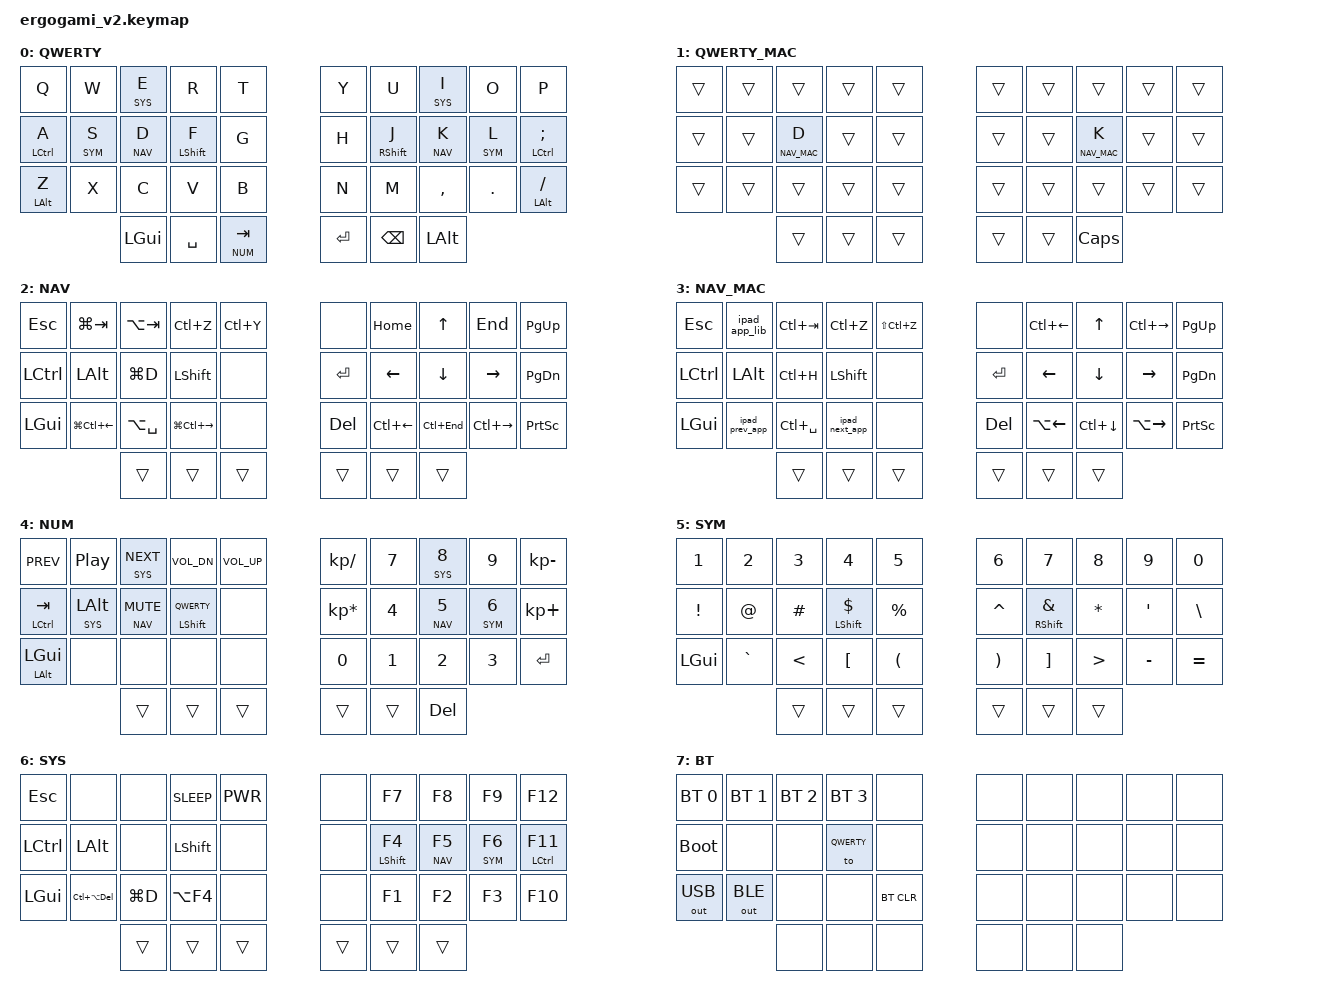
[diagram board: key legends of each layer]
/*
 * Copyright (c) 2020 The ZMK Contributors
 *
 * SPDX-License-Identifier: MIT
 */

#include <behaviors.dtsi>
#include <dt-bindings/zmk/keys.h>
#include <dt-bindings/zmk/bt.h>
#include <dt-bindings/zmk/outputs.h>

&mt {
  tapping-term-ms = <400>;
};
&sk {
  release-after-ms = <2000>;
  quick-release;
};
 
/* Layers */
#define QWERTY 0
#define QWERTY_MAC 1
#define NAV 2
#define NAV_MAC 3
#define NUM 4
#define SYM 5
#define SYS 6
#define BT 7
/ {

  combos {
    compatible = "zmk,combos";
    combo_qwerty {
      timeout-ms = <40>;
      key-positions = <0 1>;
      bindings = <&to QWERTY>;
    };
    combo_qwerty_mac {
      timeout-ms = <40>;
      key-positions = <10 11>;
      bindings = <&to QWERTY_MAC>;
    };
    combo_nav {
      timeout-ms = <30>;
      key-positions = <21 22 23>;
      bindings = <&to NAV>;
    };
    combo_num {
      timeout-ms = <30>;
      key-positions = <1 2 3>;
      bindings = <&to NUM>;
    };
    combo_sym {
      timeout-ms = <30>;
      key-positions = <11 12 13>;
      bindings = <&to SYM>;
    };
    combo_bt  {
      timeout-ms = <40>;
      key-positions = <20 21 22 23>;
      bindings = <&to BT>;
    };
    combo_caps {
      timeout-ms = <45>;
      key-positions = <16 17 18>;
      bindings = <&kp CAPS>;
    };
  };

  behaviors {
    lm: layer_mods {
      compatible = "zmk,behavior-hold-tap";
      label = "LAYER_MODS";
      #binding-cells = <2>;
      tapping-term-ms = <200>;
      flavor = "balanced";
      bindings = <&lt>, <&to>;
      retro-tap;
    };
    hl: homerow_layers {
      compatible = "zmk,behavior-hold-tap";
      label = "HOMEROW_LAYERS";
      #binding-cells = <2>;
      tapping-term-ms = <200>;
      quick_tap_ms = <0>;
      flavor = "hold-preferred";
      bindings = <&kp>, <&to>;
    };
    hs: hold_shift {
      compatible = "zmk,behavior-hold-tap";
      label = "SHIFT_KEY";
      #binding-cells = <2>;
      tapping-term-ms = <160>;
      quick_tap_ms = <0>;
      flavor = "hold-preferred";
      bindings = <&kp>, <&kp>;
      retro-tap;
    };
    td: tapdance {
      compatible = "zmk,behavior-hold-tap";
      label = "TAPDANCE";
      #binding-cells = <2>;
      tapping-term-ms = <190>;
      quick_tap_ms = <0>;
      flavor = "tap-preferred";
      bindings = <&kp>, <&kp>;
      retro-tap;
    };
  };

  macros {
    ipad_prev_app: ipad_prev_app {
        label = "IPAD_prev_app";
        compatible = "zmk,behavior-macro";
        #binding-cells = <0>;
        bindings = 
          <&macro_press &kp CAPS>,
          <&macro_tap &kp LEFT_ARROW>,
          <&macro_release &kp CAPS>;
    };
    ipad_next_app: ipad_next_app {
        label = "IPAD_next_app";
        compatible = "zmk,behavior-macro";
        #binding-cells = <0>;
        bindings =
          <&macro_press &kp CAPS>,
          <&macro_tap &kp RIGHT_ARROW>,
          <&macro_release &kp CAPS>;
    };
    ipad_app_lib: ipad_app_lib {
        label = "IPAD_app_library";
        compatible = "zmk,behavior-macro";
        #binding-cells = <0>;
        bindings =
          <&macro_press &kp CAPS>,
          <&macro_tap &kp UP_ARROW>,
          <&macro_release &kp CAPS>;
    };
};
  
//		Keys Template
//    ╭─────────────┬─────────────┬─────────────┬─────────────┬─────────────╮   ╭─────────────┬─────────────┬─────────────┬─────────────┬─────────────╮
//       RC(0,0)       RC(0,1)       RC(0,2)       RC(0,3)       RC(0,4)           RC(0,5)       RC(0,6)       RC(0,7)       RC(0,8)       RC(0,9)
//    ├─────────────┼─────────────┼─────────────┼─────────────┼─────────────┤   ├─────────────┼─────────────┼─────────────┼─────────────┼─────────────┤
//       RC(0,10)      RC(0,11)      RC(0,12)      RC(0,13)      RC(0,14)          RC(0,15)      RC(0,16)      RC(0,17)      RC(0,18)      RC(0,19)
//    ├─────────────┼─────────────┼─────────────┼─────────────┼─────────────┤   ├─────────────┼─────────────┼─────────────┼─────────────┼─────────────┤
//       RC(0,20)      RC(0,21)      RC(0,22)      RC(0,23)      RC(0,24)          RC(0,25)      RC(0,26)      RC(0,27)      RC(0,28)      RC(0,29)
//    ╰─────────────┴─────────────┼─────────────┼─────────────┼─────────────┤   ├─────────────┼─────────────┼─────────────┼─────────────┴─────────────╯
//                                   RC(0,30)      RC(0,31)      RC(0,32)          RC(0,33)      RC(0,34)      RC(0,35)
//                                ╰─────────────┴─────────────┴─────────────╯   ╰─────────────┴─────────────┴─────────────╯

  keymap {
    compatible = "zmk,keymap";
    qwerty {
      label = "QWERTY";
      bindings = <
      // ╭─────────────┬─────────────┬─────────────┬─────────────┬─────────────╮   ╭─────────────┬─────────────┬─────────────┬─────────────┬────────────────╮
           &kp Q         &kp W         &lt SYS E     &kp R         &kp T             &kp Y         &kp U         &lt SYS I     &kp O         &kp P
      // ├─────────────┼─────────────┼─────────────┼─────────────┼─────────────┤   ├─────────────┼─────────────┼─────────────┼─────────────┼────────────────┤
           &td LCTRL A   &lt SYM S     &lt NAV D     &hs LSHFT F   &kp G             &kp H         &hs RSHFT J   &lt NAV K     &lt SYM L     &td LCTRL SEMI
      // ├─────────────┼─────────────┼─────────────┼─────────────┼─────────────┤   ├─────────────┼─────────────┼─────────────┼─────────────┼────────────────┤
           &td LALT Z    &kp X         &kp C         &kp V         &kp B             &kp N         &kp M         &kp COMMA     &kp DOT       &td LALT SLASH
      // ╰─────────────┴─────────────┼─────────────┼─────────────┼─────────────┤   ├─────────────┼─────────────┼─────────────┼─────────────┴────────────────╯
                                       &kp LGUI      &kp SPACE     &lt NUM TAB       &kp RET       &kp BSPC      &kp LALT
      //                             ╰─────────────┴─────────────┴─────────────╯   ╰─────────────┴─────────────┴─────────────╯
      >;
    };

    qwerty_mac {
      label = "QWERTY_MAC";
      bindings = <
      // ╭─────────────┬─────────────┬───────────────┬─────────────┬─────────────╮   ╭─────────────┬─────────────┬───────────────┬─────────────┬─────────────╮
           &trans        &trans        &trans          &trans        &trans            &trans        &trans        &trans          &trans        &trans
      // ├─────────────┼─────────────┼───────────────┼─────────────┼─────────────┤   ├─────────────┼─────────────┼───────────────┼─────────────┼─────────────┤
           &trans        &trans        &lt NAV_MAC D   &trans        &trans            &trans        &trans        &lt NAV_MAC K   &trans        &trans
      // ├─────────────┼─────────────┼───────────────┼─────────────┼─────────────┤   ├─────────────┼─────────────┼───────────────┼─────────────┼─────────────┤
           &trans        &trans        &trans          &trans        &trans            &trans        &trans        &trans          &trans        &trans
      // ╰─────────────┴─────────────┼───────────────┼─────────────┼─────────────┤   ├─────────────┼─────────────┼───────────────┼─────────────┴─────────────╯
                                       &trans          &trans        &trans            &trans        &trans        &kp CAPS
      //                             ╰───────────────┴─────────────┴─────────────╯   ╰─────────────┴─────────────┴──────────────╯
      >;
    };

    nav {
      label = "NAV";
      bindings = <
      // ╭─────────────┬──────────────────┬───────────────┬───────────────────┬─────────────╮   ╭─────────────┬──────────────┬─────────────┬───────────────┬─────────────╮
           &kp ESC       &kp LG(TAB)        &kp LA(TAB)     &kp LC(Z)           &kp LC(Y)         &none         &kp HOME       &kp UP        &kp END         &kp PG_UP
      // ├─────────────┼──────────────────┼───────────────┼───────────────────┼─────────────┤   ├─────────────┼──────────────┼─────────────┼───────────────┼─────────────┤
           &kp LCTRL     &kp LALT           &kp LG(D)       &kp LSHFT           &none             &kp RET       &kp LEFT       &kp DOWN      &kp RIGHT       &kp PG_DN
      // ├─────────────┼──────────────────┼───────────────┼───────────────────┼─────────────┤   ├─────────────┼──────────────┼─────────────┼───────────────┼─────────────┤
           &kp LGUI      &kp LG(LC(LEFT))   &kp LA(SPACE)   &kp LG(LC(RIGHT))   &none             &kp DEL       &kp LC(LEFT)   &kp LC(END)   &kp LC(RIGHT)   &kp PSCRN
      // ╰─────────────┴──────────────────┼───────────────┼───────────────────┼─────────────┤   ├─────────────┼──────────────┼─────────────┼───────────────┴─────────────╯
                                            &trans          &trans              &trans            &trans        &trans         &trans
      //                                  ╰───────────────┴───────────────────┴─────────────╯   ╰─────────────┴──────────────┴─────────────╯
      >;
    };

    nav_mac {
      label = "NAV_MAC";
      bindings = <
      // ╭─────────────┬────────────────┬───────────────┬────────────────┬───────────────╮   ╭─────────────┬──────────────┬──────────────┬───────────────┬─────────────╮
           &kp ESC       &ipad_app_lib    &kp LC(TAB)     &kp LC(Z)        &kp LS(LC(Z))       &none         &kp LC(LEFT)   &kp UP         &kp LC(RIGHT)   &kp PG_UP
      // ├─────────────┼────────────────┼───────────────┼────────────────┼───────────────┤   ├─────────────┼──────────────┼──────────────┼───────────────┼─────────────┤
           &kp LCTRL     &kp LALT         &kp LC(H)       &kp LSHFT        &none               &kp RET       &kp LEFT       &kp DOWN       &kp RIGHT       &kp PG_DN
      // ├─────────────┼────────────────┼───────────────┼────────────────┼───────────────┤   ├─────────────┼──────────────┼──────────────┼───────────────┼─────────────┤
           &kp LGUI      &ipad_prev_app   &kp LC(SPACE)   &ipad_next_app   &none               &kp DEL       &kp LA(LEFT)   &kp LC(DOWN)   &kp LA(RIGHT)   &kp PSCRN
      // ╰─────────────┴────────────────┼───────────────┼────────────────┼───────────────┤   ├─────────────┼──────────────┼──────────────┼───────────────┴─────────────╯
                                          &trans          &trans           &trans              &trans        &trans         &trans
      //                                ╰───────────────┴────────────────┴───────────────╯   ╰─────────────┴──────────────┴──────────────╯
      >;
    };

    num {
      label = "NUM";
      bindings = <
      // ╭───────────────┬──────────────┬────────────────┬──────────────────┬──────────────╮   ╭─────────────────┬─────────────┬─────────────┬─────────────┬──────────────╮
           &kp C_PREV      &kp C_PP       &lt SYS C_NEXT   &kp C_VOL_DN       &kp C_VOL_UP       &kp KP_DIVIDE     &kp N7        &lt SYS N8    &kp N9        &kp KP_MINUS
      // ├───────────────┼──────────────┼────────────────┼──────────────────┼──────────────┤   ├─────────────────┼─────────────┼─────────────┼─────────────┼──────────────┤
           &td LCTRL TAB   &lt SYS LALT   &lt NAV C_MUTE   &hl LSHFT QWERTY   &none              &kp KP_MULTIPLY   &kp N4        &lt NAV N5    &lt SYM N6    &kp KP_PLUS
      // ├───────────────┼──────────────┼────────────────┼──────────────────┼──────────────┤   ├─────────────────┼─────────────┼─────────────┼─────────────┼──────────────┤
           &td LALT LGUI   &none          &none            &none              &none              &kp N0            &kp N1        &kp N2        &kp N3        &kp RET
      // ╰───────────────┴──────────────┼────────────────┼──────────────────┼──────────────┤   ├─────────────────┼─────────────┼─────────────┼─────────────┴──────────────╯
                                          &trans           &trans             &trans             &trans            &trans        &kp DEL
      //                                ╰────────────────┴──────────────────┴──────────────╯   ╰─────────────────┴─────────────┴─────────────╯
      >;
    };

    sym {
      label = "SYM";
      bindings = <
      // ╭─────────────┬─────────────┬─────────────┬────────────────┬─────────────╮   ╭─────────────┬────────────────┬─────────────┬─────────────┬─────────────╮
           &kp N1        &kp N2        &kp N3        &kp N4           &kp N5            &kp N6        &kp N7           &kp N8        &kp N9        &kp N0
      // ├─────────────┼─────────────┼─────────────┼────────────────┼─────────────┤   ├─────────────┼────────────────┼─────────────┼─────────────┼─────────────┤
           &kp EXCL      &kp AT        &kp HASH      &hs LSHFT DLLR   &kp PRCNT         &kp CARET     &hs RSHFT AMPS   &kp STAR      &kp SQT       &kp BSLH
      // ├─────────────┼─────────────┼─────────────┼────────────────┼─────────────┤   ├─────────────┼────────────────┼─────────────┼─────────────┼─────────────┤
           &kp LGUI      &kp GRAVE     &kp LT        &kp LBKT         &kp LPAR          &kp RPAR      &kp RBKT         &kp GT        &kp MINUS     &kp EQUAL
      // ╰─────────────┴─────────────┼─────────────┼────────────────┼─────────────┤   ├─────────────┼────────────────┼─────────────┼─────────────┴─────────────╯
                                       &trans        &trans           &trans            &trans        &trans           &trans
      //                             ╰─────────────┴────────────────┴─────────────╯   ╰─────────────┴────────────────┴─────────────╯
      >;
    };

    sys {
      label = "SYS";
      bindings = <
      // ╭─────────────┬─────────────────┬─────────────┬─────────────┬─────────────╮   ╭─────────────┬──────────────┬─────────────┬─────────────┬──────────────╮
           &kp ESC       &none             &none         &kp C_SLEEP   &kp C_PWR         &none         &kp F7         &kp F8        &kp F9        &kp F12
      // ├─────────────┼─────────────────┼─────────────┼─────────────┼─────────────┤   ├─────────────┼──────────────┼─────────────┼─────────────┼──────────────┤
           &kp LCTRL     &kp LALT          &none         &kp LSHFT     &none             &none         &hs LSHFT F4   &lt NAV F5    &lt SYM F6    &hs LCTRL F11
      // ├─────────────┼─────────────────┼─────────────┼─────────────┼─────────────┤   ├─────────────┼──────────────┼─────────────┼─────────────┼──────────────┤
           &kp LGUI      &kp LC(LA(DEL))   &kp LG(D)     &kp LA(F4)    &none             &none         &kp F1         &kp F2        &kp F3        &kp F10
      // ╰─────────────┴─────────────────┼─────────────┼─────────────┼─────────────┤   ├─────────────┼──────────────┼─────────────┼─────────────┴──────────────╯
                                           &trans        &trans        &trans            &trans        &trans         &trans
      //                                 ╰─────────────┴─────────────┴─────────────╯   ╰─────────────┴──────────────┴─────────────╯
      >;
    };

    bt {
      label = "BT";
      bindings = <
      // ╭──────────────┬──────────────┬──────────────┬──────────────┬─────────────╮   ╭─────────────┬─────────────┬─────────────┬─────────────┬─────────────╮
           &bt BT_SEL 0   &bt BT_SEL 1   &bt BT_SEL 2   &bt BT_SEL 3   &none             &none         &none         &none         &none         &none
      // ├──────────────┼──────────────┼──────────────┼──────────────┼─────────────┤   ├─────────────┼─────────────┼─────────────┼─────────────┼─────────────┤
           &bootloader    &none          &none          &to QWERTY     &none             &none         &none         &none         &none         &none
      // ├──────────────┼──────────────┼──────────────┼──────────────┼─────────────┤   ├─────────────┼─────────────┼─────────────┼─────────────┼─────────────┤
           &out OUT_USB   &out OUT_BLE   &none          &none          &bt BT_CLR        &none         &none         &none         &none         &none
      // ╰──────────────┴──────────────┼──────────────┼──────────────┼─────────────┤   ├─────────────┼─────────────┼─────────────┼─────────────┴─────────────╯
                                         &none          &none          &none             &none         &none         &none
      //                               ╰─────────────┴───────────────┴─────────────╯   ╰─────────────┴─────────────┴─────────────╯
      >;
    };

  };
};
